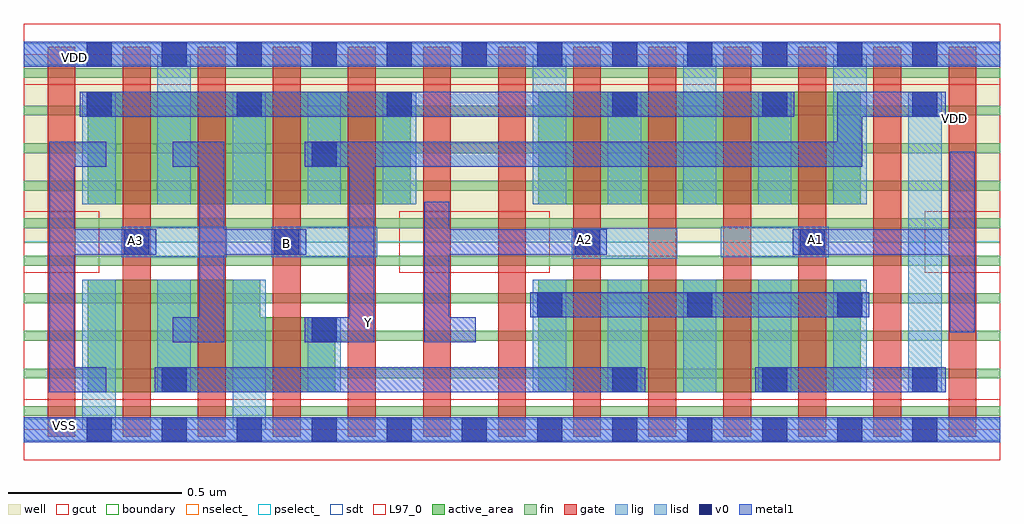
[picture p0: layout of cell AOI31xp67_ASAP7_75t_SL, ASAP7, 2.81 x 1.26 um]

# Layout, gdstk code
import gdstk
lib = gdstk.Library(unit=1e-6, precision=2.5e-10)
def R(c, l, rs):  # rectangles x0, y0, x1, y1
    for r in rs: c.add(gdstk.rectangle(r[:2], r[2:], *l))
def A(c, l, x, y, w, h, nx, ny, dx, dy):  # array of equal rectangles
    R(c, l, [(x+i*dx, y+j*dy, x+i*dx+w, y+j*dy+h) for i in range(nx) for j in range(ny)])
def P(c, l, *ps):  # polygons
    for p in ps: c.add(gdstk.Polygon(p, *l))
well = (1, 0)
fin = (2, 0)
gate = (7, 0)
gcut = (10, 0)
active_area = (11, 0)
nselect_ = (12, 0)
pselect_ = (13, 0)
lig = (16, 0)
lisd = (17, 0)
v0 = (18, 0)
metal1 = (19, 0)
sdt = (88, 0)
L97_0 = (97, 0)
boundary = (100, 0)

aoi31xp67_asap7_75t_sl = lib.new_cell('AOI31xp67_ASAP7_75t_SL')
R(aoi31xp67_asap7_75t_sl, well, [(0,0.54,2.808,1.08)])
A(aoi31xp67_asap7_75t_sl, fin, 0, 0.04, 2.808, 0.028, 1, 10, 0, 0.108)
A(aoi31xp67_asap7_75t_sl, gate, 0.068, -0.02, 0.08, 1.122, 13, 1, 0.216, 0)
R(aoi31xp67_asap7_75t_sl, gcut, [(0,-0.088,2.808,0.088), (0,0.452,0.216,0.628), (1.08,0.452,1.512,0.628), (2.592,0.452,2.808,0.628), (0,0.992,2.808,1.168)])
R(aoi31xp67_asap7_75t_sl, active_area, [(1.48,0.108,2.408,0.432), (0.184,0.648,1.112,0.972), (1.48,0.648,2.408,0.972)])
P(aoi31xp67_asap7_75t_sl, active_area, [(0.896,0.324),(0.68,0.324),(0.68,0.432),(0.184,0.432),(0.184,0.108),(0.896,0.108)])
R(aoi31xp67_asap7_75t_sl, nselect_, [(0,0,2.808,0.54)])
R(aoi31xp67_asap7_75t_sl, pselect_, [(0,0.54,2.808,1.08)])
R(aoi31xp67_asap7_75t_sl, lig, [(0,-0.032,2.808,0.032), (1.576,0.492,1.88,0.58), (0.28,0.496,0.584,0.584), (0.712,0.496,1.016,0.584), (2.004,0.496,2.316,0.584), (0,1.048,2.808,1.112)])
A(aoi31xp67_asap7_75t_sl, lisd, 1.464, 0.108, 0.096, 0.324, 5, 1, 0.216, 0)
A(aoi31xp67_asap7_75t_sl, lisd, 0.6, 0.648, 0.096, 0.324, 3, 1, 0.216, 0)
A(aoi31xp67_asap7_75t_sl, lisd, 1.464, 0.648, 0.096, 0.432, 3, 1, 0.432, 0)
R(aoi31xp67_asap7_75t_sl, lisd, [(0.168,0,0.264,0.432), (0.6,0,0.696,0.432), (0.384,0.108,0.48,0.432), (0.816,0.108,0.912,0.324), (2.544,0.108,2.64,0.972), (0.168,0.648,0.264,0.972), (0.384,0.648,0.48,1.08), (1.68,0.648,1.776,0.972), (2.112,0.648,2.208,0.972)])
A(aoi31xp67_asap7_75t_sl, v0, 0.18, -0.036, 0.072, 0.072, 12, 2, 0.216, 1.08)
A(aoi31xp67_asap7_75t_sl, v0, 1.692, 0.108, 0.072, 0.072, 3, 2, 0.432, 0.792)
A(aoi31xp67_asap7_75t_sl, v0, 1.476, 0.324, 0.072, 0.072, 3, 1, 0.432, 0)
A(aoi31xp67_asap7_75t_sl, v0, 0.18, 0.9, 0.072, 0.072, 3, 1, 0.432, 0)
R(aoi31xp67_asap7_75t_sl, v0, [(0.396,0.108,0.468,0.18), (0.828,0.252,0.9,0.324), (0.288,0.504,0.36,0.576), (0.72,0.504,0.792,0.576), (1.584,0.504,1.656,0.576), (2.232,0.504,2.304,0.576), (0.828,0.756,0.9,0.828)])
R(aoi31xp67_asap7_75t_sl, metal1, [(0,-0.036,2.808,0.036), (0.376,0.108,1.788,0.18), (2.104,0.108,2.652,0.18), (1.456,0.324,2.432,0.396), (0.16,0.9,2.216,0.972), (0,1.044,2.808,1.116)])
P(aoi31xp67_asap7_75t_sl, metal1, [(0.38,0.576),(0.144,0.576),(0.144,0.756),(0.236,0.756),(0.236,0.828),(0.072,0.828),(0.072,0.108),(0.236,0.108),(0.236,0.18),(0.144,0.18),(0.144,0.504),(0.38,0.504)],
  [(0.812,0.576),(0.576,0.576),(0.576,0.828),(0.428,0.828),(0.428,0.756),(0.504,0.756),(0.504,0.324),(0.428,0.324),(0.428,0.252),(0.576,0.252),(0.576,0.504),(0.812,0.504)],
  [(1.676,0.576),(1.224,0.576),(1.224,0.656),(1.152,0.656),(1.152,0.252),(1.3,0.252),(1.3,0.324),(1.224,0.324),(1.224,0.504),(1.676,0.504)],
  [(2.736,0.8),(2.664,0.8),(2.664,0.576),(2.212,0.576),(2.212,0.504),(2.664,0.504),(2.664,0.28),(2.736,0.28)],
  [(2.652,0.972),(2.34,0.972),(2.34,0.828),(0.808,0.828),(0.808,0.756),(0.936,0.756),(0.936,0.324),(0.808,0.324),(0.808,0.252),(1.008,0.252),(1.008,0.756),(2.412,0.756),(2.412,0.9),(2.652,0.9)])
A(aoi31xp67_asap7_75t_sl, sdt, 0.168, 0.108, 0.096, 0.324, 3, 1, 0.216, 0)
A(aoi31xp67_asap7_75t_sl, sdt, 1.464, 0.108, 0.096, 0.324, 5, 2, 0.216, 0.54)
A(aoi31xp67_asap7_75t_sl, sdt, 0.168, 0.648, 0.096, 0.324, 5, 1, 0.216, 0)
R(aoi31xp67_asap7_75t_sl, sdt, [(0.816,0.108,0.912,0.324)])
R(aoi31xp67_asap7_75t_sl, L97_0, [(0,0,2.808,1.08)])
R(aoi31xp67_asap7_75t_sl, boundary, [(0,0,2.808,1.08)])
aoi31xp67_asap7_75t_sl.add(gdstk.Label('VSS', (0.116,0.012), layer=19, texttype=251))
aoi31xp67_asap7_75t_sl.add(gdstk.Label('VDD', (0.144,1.07), layer=19, texttype=251))
aoi31xp67_asap7_75t_sl.add(gdstk.Label('A3', (0.32,0.544), layer=19, texttype=251))
aoi31xp67_asap7_75t_sl.add(gdstk.Label('B', (0.756,0.536), layer=19, texttype=251))
aoi31xp67_asap7_75t_sl.add(gdstk.Label('A1', (2.276,0.548), layer=19, texttype=251))
aoi31xp67_asap7_75t_sl.add(gdstk.Label('A2', (1.612,0.548), layer=19, texttype=251))
aoi31xp67_asap7_75t_sl.add(gdstk.Label('Y', (0.992,0.308), layer=19, texttype=251))
aoi31xp67_asap7_75t_sl.add(gdstk.Label('VDD', (2.676,0.896), layer=1, texttype=251))
aoi31xp67_asap7_75t_sl.add(gdstk.Label('VSS', (2.92,0.892), layer=3, texttype=251))

lib.write_gds('AOI31xp67_ASAP7_75t_SL.gds')
